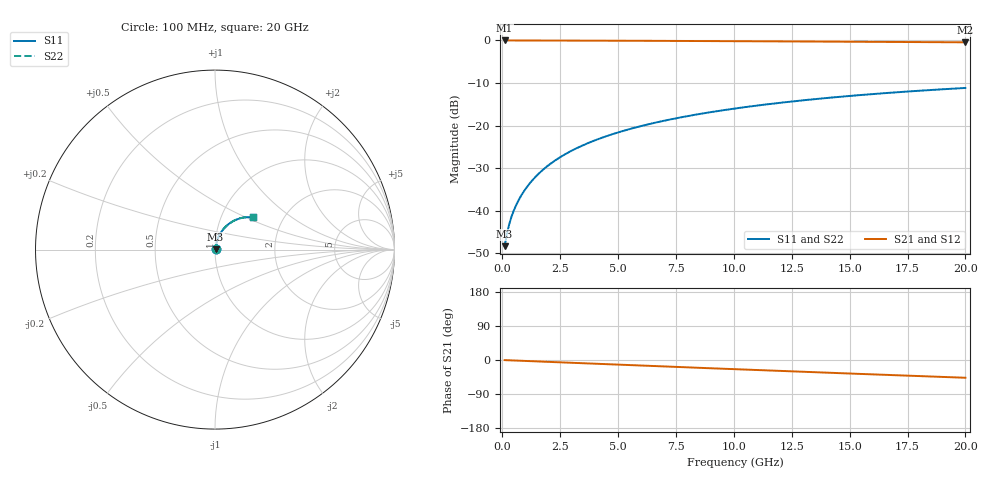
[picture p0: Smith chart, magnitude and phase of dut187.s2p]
! Touchstone file exported from HFSS 2026.1.0
!  File:  C:/ffzhzh/LocalFiles/Ansys_Project_Files/temp_train_BSMRDL_187_1782987348_40604.aedt
!  Generated:  06:18:00 PM Jul  2, 2026
!  Design:  BSMRDL
!  Project:  temp_train_BSMRDL_187_1782987348_40604
! Variables:
!  h_bsmrdl = 3.18um
!  h_ox = 20um
!  h_rdl = 5um
!  h_sub = 80um
!  h_tmrdl = 5um
!  h_tsv = 80um
!  h_via = 3um
!  l_bsmrdl = 763.57um
!  l_sub = 1163.57um
!  l_tmrdl = 200um
!  m_sub = 200um
!  pitch = 44.44um
!  r_tsv = 6um
!  s_tmrdl = 10um
!  w_bsmrdl = 29.18um
!  w_sub = 500um
!  w_tmrdl = 12um
!  x_tsv_center1 = 206um
!  x_tsv_center2 = 998.75um
!  x_tsv_center3 = 1210.75um
!  x_tsv_center4 = 2003.5um
!  x_tsv_center5 = 2215.5um
!  x_tsv_center6 = 3008.25um
# GHz S MA R 50.000000
! Terminal data exported
! Port[1] = BSM_RDL1_1_T1
! Port[2] = BSM_RDL1_1_T2
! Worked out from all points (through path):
!   200 points, 100 MHz to 20 GHz, reference 50 ohm
!   highest |S21| = -0.03 dB at 100 MHz (marker M1); lowest = -0.5 dB at 20 GHz (marker M2)
!   group delay of S21, straight-line fit = 6.51 ps
!   lowest |S11| = -48.3 dB at 100 MHz (marker M3), VSWR 1.01, Z = 50.3 + j0.211 ohm
!   |S11| at or under -10 dB: start of sweep to end of sweep
!   |S22| runs from -48.3 to -11.2 dB; largest |S21 - S12| = 3.4e-15
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0.1  0.003854 33.0  0.9968 -0.3  0.9968 -0.3  0.003854 33.0
! Gamma 0 0 0 0
! Port Impedance 50 0 50 0
0.2  0.005371 48.9  0.9965 -0.5  0.9965 -0.5  0.005371 48.9
0.3  0.006993 56.5  0.9962 -0.8  0.9962 -0.8  0.006993 56.5
0.4  0.008584 61.1  0.996 -1.0  0.996 -1.0  0.008583 61.1
0.5  0.01015 64.3  0.9958 -1.3  0.9958 -1.3  0.01015 64.3
0.6  0.01171 66.8  0.9956 -1.5  0.9956 -1.5  0.01171 66.8
0.8  0.01485 70.3  0.9954 -2.0  0.9954 -2.0  0.01485 70.3
1.1  0.01964 73.5  0.9952 -2.7  0.9952 -2.7  0.01964 73.5
1.3  0.02289 74.8  0.995 -3.2  0.995 -3.2  0.02289 74.8
1.6  0.02779 75.9  0.9948 -4.0  0.9948 -4.0  0.02779 75.9
2.1  0.03602 76.7  0.9943 -5.2  0.9943 -5.2  0.03602 76.7
2.7  0.0459 76.7  0.9937 -6.7  0.9937 -6.7  0.0459 76.7
3.5  0.05901 75.9  0.9926 -8.6  0.9926 -8.6  0.05901 75.9
4.2  0.07037 74.7  0.9915 -10.3  0.9915 -10.3  0.07037 74.7
5  0.08317 73.2  0.99 -12.2  0.99 -12.2  0.08317 73.2
5.9  0.09733 71.4  0.9881 -14.4  0.9881 -14.4  0.09733 71.4
6.8  0.1112 69.5  0.9861 -16.6  0.9861 -16.6  0.1112 69.5
8.3  0.1336 66.2  0.9824 -20.1  0.9824 -20.1  0.1336 66.2
10.1  0.1594 62.2  0.9776 -24.4  0.9776 -24.4  0.1594 62.2
13.4  0.2032 54.9  0.968 -32.0  0.968 -32.0  0.2032 54.9
16.7  0.2423 47.7  0.958 -39.5  0.958 -39.5  0.2423 47.7
20  0.2764 40.6  0.9481 -46.9  0.9481 -46.9  0.2764 40.6
